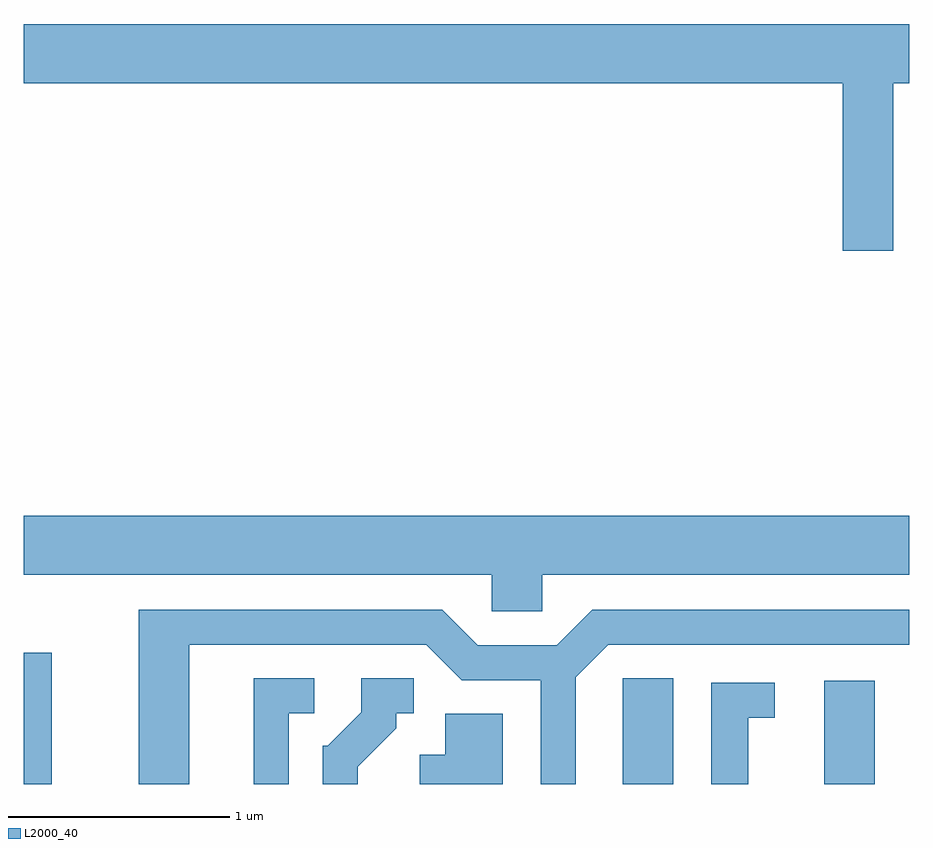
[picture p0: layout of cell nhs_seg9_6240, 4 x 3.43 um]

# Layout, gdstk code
import gdstk
lib = gdstk.Library(unit=1e-6, precision=1e-09)
def R(c, l, rs):  # rectangles x0, y0, x1, y1
    for r in rs: c.add(gdstk.rectangle(r[:2], r[2:], *l))
def P(c, l, *ps):  # polygons
    for p in ps: c.add(gdstk.Polygon(p, *l))
L2000_40 = (2000, 40)

nhs_seg9_6240 = lib.new_cell('nhs_seg9_6240')
R(nhs_seg9_6240, L2000_40, [(369.611,1986.432,369.739,1987.024), (372.316,1986.432,372.544,1986.909), (373.226,1986.432,373.454,1986.899)])
P(nhs_seg9_6240, L2000_40, [(373.539,1989.596),(373.611,1989.596),(373.611,1989.864),(369.611,1989.864),(369.611,1989.596),(373.311,1989.596),(373.311,1988.841),(373.539,1988.841)],
  [(371.954,1987.376),(373.611,1987.376),(373.611,1987.644),(369.611,1987.644),(369.611,1987.376),(371.726,1987.376),(371.726,1987.211),(371.954,1987.211)],
  [(370.359,1987.061),(371.429,1987.061),(371.589,1986.901),(371.946,1986.901),(371.946,1986.432),(372.104,1986.432),(372.104,1986.914),(372.252,1987.061),(373.611,1987.061),(373.611,1987.219),(372.179,1987.219),(372.019,1987.059),(371.662,1987.059),(371.502,1987.219),(370.131,1987.219),(370.131,1986.432),(370.359,1986.432)],
  [(371.119,1986.509),(371.294,1986.684),(371.294,1986.751),(371.373,1986.751),(371.373,1986.909),(371.136,1986.909),(371.136,1986.757),(370.984,1986.604),(370.961,1986.604),(370.961,1986.432),(371.119,1986.432)],
  [(370.809,1986.751),(370.923,1986.751),(370.923,1986.909),(370.651,1986.909),(370.651,1986.432),(370.809,1986.432)],
  [(372.884,1986.731),(373.003,1986.731),(373.003,1986.889),(372.716,1986.889),(372.716,1986.432),(372.884,1986.432)],
  [(371.774,1986.749),(371.516,1986.749),(371.516,1986.564),(371.401,1986.564),(371.401,1986.432),(371.774,1986.432)])

lib.write_gds('nhs_seg9_6240.gds')
